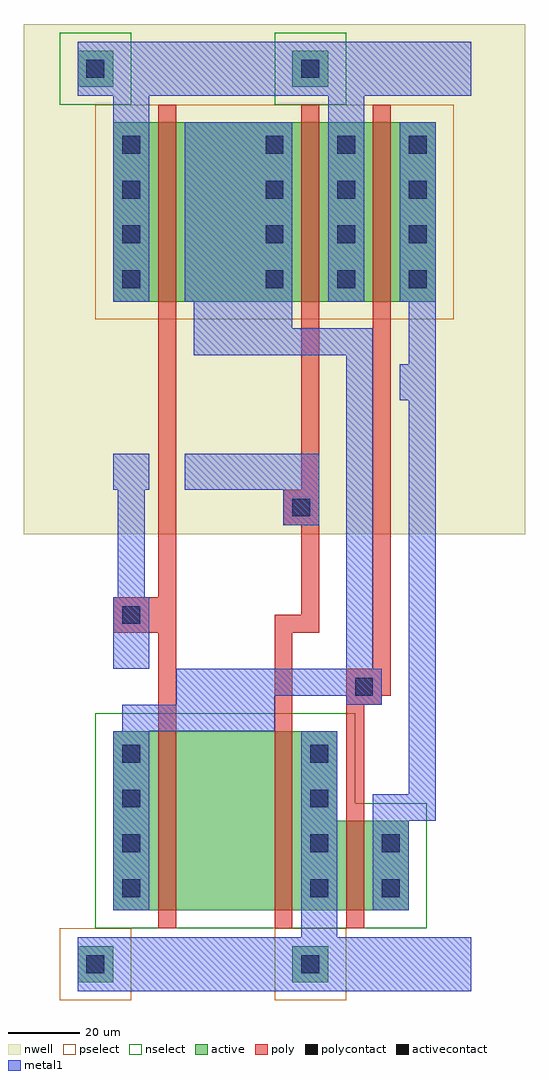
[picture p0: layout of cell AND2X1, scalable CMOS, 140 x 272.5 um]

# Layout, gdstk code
import gdstk
lib = gdstk.Library(unit=1e-6, precision=1e-09)
def R(c, l, rs):  # rectangles x0, y0, x1, y1
    for r in rs: c.add(gdstk.rectangle(r[:2], r[2:], *l))
def A(c, l, x, y, w, h, nx, ny, dx, dy):  # array of equal rectangles
    R(c, l, [(x+i*dx, y+j*dy, x+i*dx+w, y+j*dy+h) for i in range(nx) for j in range(ny)])
nwell = (42, 0)
active = (43, 0)
pselect = (44, 0)
nselect = (45, 0)
poly = (46, 0)
polycontact = (47, 0)
activecontact = (48, 0)
metal1 = (49, 0)

and2x1 = lib.new_cell('AND2X1')
R(and2x1, nwell, [(-20,120,120,262.5)])
R(and2x1, active, [(-5,-5,5,5), (55,-5,65,5), (5,15,87.5,40), (5,40,67.5,65), (5,185,95,235), (-5,245,5,255), (55,245,65,255)])
R(and2x1, pselect, [(-10,-10,10,10), (50,-10,70,10), (0,180,100,240)])
R(and2x1, nselect, [(0,10,92.5,45), (0,45,72.5,70), (-10,240,10,260), (50,240,70,260)])
R(and2x1, poly, [(17.5,10,22.5,92.5), (50,10,55,92.5), (70,10,75,72.5), (70,72.5,80,75), (70,75,82.5,82.5), (77.5,82.5,82.5,240), (5,92.5,22.5,102.5), (50,92.5,62.5,97.5), (57.5,97.5,62.5,122.5), (17.5,102.5,22.5,240), (52.5,122.5,62.5,132.5), (57.5,132.5,62.5,240)])
R(and2x1, polycontact, [(72.5,75,77.5,80), (7.5,95,12.5,100), (55,125,60,130)])
A(and2x1, activecontact, 7.5, 18.75, 5, 5, 1, 4, 0, 12.5)
A(and2x1, activecontact, 60, 18.75, 5, 5, 1, 4, 0, 12.5)
A(and2x1, activecontact, 7.5, 188.75, 5, 5, 1, 4, 0, 12.5)
A(and2x1, activecontact, 47.5, 188.75, 5, 5, 3, 4, 20, 12.5)
R(and2x1, activecontact, [(-2.5,-2.5,2.5,2.5), (57.5,-2.5,62.5,2.5), (80,18.75,85,23.75), (80,31.25,85,36.25), (-2.5,247.5,2.5,252.5), (57.5,247.5,62.5,252.5)])
R(and2x1, metal1, [(-5,-7.5,105,7.5), (57.5,7.5,67.5,65), (5,15,15,65), (77.5,15,87.5,40), (77.5,40,95,47.5), (87.5,47.5,95,157.5), (7.5,65,50,72.5), (22.5,72.5,50,75), (70,72.5,80,75), (22.5,75,80,82.5), (5,82.5,15,102.5), (70,82.5,77.5,170), (6.25,83.75,13.75,141.25), (52.5,122.5,62.5,132.5), (5,132.5,15,142.5), (25,132.5,62.5,142.5), (85,157.5,95,167.5), (87.5,167.5,95,185), (27.5,170,77.5,177.5), (27.5,177.5,55,185), (5,185,15,242.5), (25,185,55,235), (65,185,75,242.5), (85,185,95,235), (-5,242.5,105,257.5)])

lib.write_gds('AND2X1.gds')
